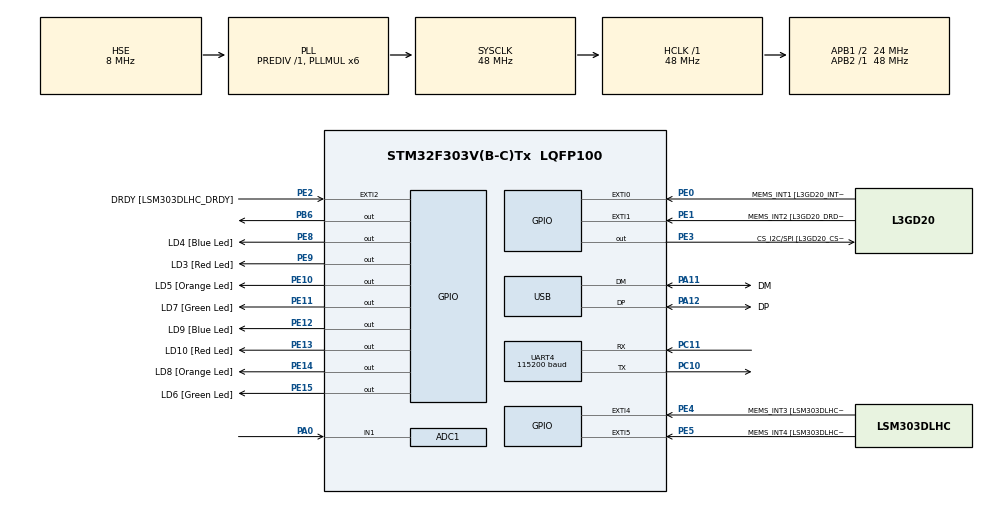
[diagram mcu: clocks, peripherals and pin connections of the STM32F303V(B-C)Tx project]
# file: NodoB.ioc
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ADC1.Channel-0\#ChannelRegularConversion=ADC_CHANNEL_1
ADC1.ClockPrescaler=ADC_CLOCK_SYNC_PCLK_DIV4
ADC1.NbrOfConversionFlag=1
ADC1.Offset-0\#ChannelRegularConversion=0
ADC1.OffsetNumber-0\#ChannelRegularConversion=ADC_OFFSET_NONE
ADC1.Rank-0\#ChannelRegularConversion=1
ADC1.SamplingTime-0\#ChannelRegularConversion=ADC_SAMPLETIME_1CYCLE_5
ADC1.SamplingTimeOPAMP-0\#ChannelRegularConversion=ADC_SAMPLETIME_19CYCLES_5
ADC1.master=1
Mcu.Family=STM32F3
Mcu.Name=STM32F303V(B-C)Tx
Mcu.Package=LQFP100
NVIC.ADC1_2_IRQn=true\:0\:0\:false\:false\:true\:true\:true\:true
NVIC.PriorityGroup=NVIC_PRIORITYGROUP_0
NVIC.UART4_IRQn=true\:0\:0\:false\:false\:true\:true\:true\:true
PA0.Mode=IN1-Single-Ended
PA0.Signal=ADC1_IN1
PA11.GPIO_Label=DM
PA11.Mode=Device
PA11.Signal=USB_DM
PA12.GPIO_Label=DP
PA12.Mode=Device
PA12.Signal=USB_DP
PA13.GPIO_Label=SWDIO
PA13.Mode=Serial_Wire
PA13.Signal=SYS_JTMS-SWDIO
PA14.GPIO_Label=SWCLK
PA14.Mode=Serial_Wire
PA14.Signal=SYS_JTCK-SWCLK
PA5.GPIO_Label=SPI1_SCK [L3GD20_SCL/SPC]
PA5.Signal=SPI1_SCK
PA6.GPIO_Label=SPI1_MISO [L3GD20_SA0/SDO]
PA6.Signal=SPI1_MISO
PA7.GPIO_Label=SPI1_MISO [L3GD20_SDA/SDI/SDO]
PA7.Signal=SPI1_MOSI
PB3.GPIO_Label=SWO
PB3.Signal=SYS_JTDO-TRACESWO
PB6.Signal=GPIO_Output
PC10.Mode=Asynchronous
PC10.Signal=UART4_TX
PC11.Mode=Asynchronous
PC11.Signal=UART4_RX
PC14-OSC32_IN.GPIO_Label=OSC32_IN
PC14-OSC32_IN.Signal=RCC_OSC32_IN
PC15-OSC32_OUT.GPIO_Label=OSC32_OUT
PC15-OSC32_OUT.Signal=RCC_OSC32_OUT
PE0.GPIO_Label=MEMS_INT1 [L3GD20_INT1]
PE0.GPIO_ModeDefaultEXTI=GPIO_MODE_EVT_RISING
PE0.Signal=GPXTI0
PE1.GPIO_Label=MEMS_INT2 [L3GD20_DRDY/INT2]
PE1.GPIO_ModeDefaultEXTI=GPIO_MODE_EVT_RISING
PE1.Signal=GPXTI1
PE10.GPIO_Label=LD5 [Orange Led]
PE10.Signal=GPIO_Output
PE11.GPIO_Label=LD7 [Green Led]
PE11.Signal=GPIO_Output
PE12.GPIO_Label=LD9 [Blue Led]
PE12.Signal=GPIO_Output
PE13.GPIO_Label=LD10 [Red Led]
PE13.Signal=GPIO_Output
PE14.GPIO_Label=LD8 [Orange Led]
PE14.Signal=GPIO_Output
PE15.GPIO_Label=LD6 [Green Led]
PE15.Signal=GPIO_Output
PE2.GPIO_Label=DRDY [LSM303DLHC_DRDY]
PE2.GPIO_ModeDefaultEXTI=GPIO_MODE_EVT_RISING
PE2.Signal=GPXTI2
PE3.GPIO_Label=CS_I2C/SPI [L3GD20_CS_I2C/SPI]
PE3.Signal=GPIO_Output
PE4.GPIO_Label=MEMS_INT3 [LSM303DLHC_INT1]
PE4.GPIO_ModeDefaultEXTI=GPIO_MODE_EVT_RISING
PE4.Signal=GPXTI4
PE5.GPIO_Label=MEMS_INT4 [LSM303DLHC_INT2]
PE5.GPIO_ModeDefaultEXTI=GPIO_MODE_EVT_RISING
PE5.Signal=GPXTI5
PE8.GPIO_Label=LD4 [Blue Led]
PE8.Signal=GPIO_Output
PE9.GPIO_Label=LD3 [Red Led]
PE9.Signal=GPIO_Output
PF0-OSC_IN.GPIO_Label=OSC_IN
PF0-OSC_IN.Mode=HSE-External-Clock-Source
PF0-OSC_IN.Signal=RCC_OSC_IN
PF1-OSC_OUT.GPIO_Label=OSC_OUT
PF1-OSC_OUT.Signal=RCC_OSC_OUT
ProjectManager.HeapSize=0x200
ProjectManager.StackSize=0x400
ProjectManager.TargetToolchain=STM32CubeIDE
RCC.AHBFreq_Value=48000000
RCC.APB1CLKDivider=RCC_HCLK_DIV2
RCC.APB1Freq_Value=24000000
RCC.APB1TimFreq_Value=48000000
RCC.APB2Freq_Value=48000000
RCC.APB2TimFreq_Value=48000000
RCC.CortexFreq_Value=48000000
RCC.HCLKFreq_Value=48000000
RCC.HSE_VALUE=8000000
RCC.HSI_VALUE=8000000
RCC.LSE_VALUE=32768
RCC.PLLMUL=RCC_PLL_MUL6
RCC.SYSCLKFreq_VALUE=48000000
RCC.SYSCLKSourceVirtual=RCC_SYSCLKSOURCE_PLLCLK
RCC.USBFreq_Value=48000000
UART4.BaudRate=115200
board=STM32F3DISCOVERY

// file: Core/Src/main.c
/* USER CODE BEGIN Header */
/**
  ******************************************************************************
  * @file           : main.c
  * @brief          : Main program body
  ******************************************************************************
  * @attention
  *
  * Copyright (c) 2022 STMicroelectronics.
  * All rights reserved.
  *
  * This software is licensed under terms that can be found in the LICENSE file
  * in the root directory of this software component.
  * If no LICENSE file comes with this software, it is provided AS-IS.
  *
  ******************************************************************************
  */
/* USER CODE END Header */
#include "main.h"

/* USER CODE BEGIN Includes */
#include "string.h"
/* USER CODE END Includes */

/* USER CODE BEGIN PD */
#define BUFFER_LEN 1
/* USER CODE END PD */

 ADC_HandleTypeDef hadc1;

UART_HandleTypeDef huart4;

PCD_HandleTypeDef hpcd_USB_FS;

/* USER CODE BEGIN PV */

// VARIABILI UTILI PER LA TRASMISSIONE UART
uint8_t RX_BUFFER[BUFFER_LEN] = {0};
uint8_t TX_BUFFER[BUFFER_LEN] = {0};
int neb_acceso = 0;

// VARIABILI UTILI PER IL LIVELLO DELL'ACQUA
uint16_t adc_value;
uint8_t flag = 0;

/* USER CODE END PV */

void SystemClock_Config(void);
static void MX_GPIO_Init(void);
static void MX_USB_PCD_Init(void);
static void MX_ADC1_Init(void);
static void MX_UART4_Init(void);

/* USER CODE BEGIN 0 */
void gestisci_nebulizzatore(int acceso){
	if (flag == 1 && acceso == 1){
		HAL_GPIO_WritePin(GPIOB, GPIO_PIN_6, GPIO_PIN_SET);
	} else {
		HAL_GPIO_WritePin(GPIOB, GPIO_PIN_6, GPIO_PIN_RESET);
	}
}

uint8_t receive_data_UART(){
	HAL_UART_Receive_IT(&huart4, RX_BUFFER, BUFFER_LEN);
	return RX_BUFFER[0];
}

void HAL_UART_RxCpltCallback(UART_HandleTypeDef* huart){
	HAL_GPIO_TogglePin(GPIOE, GPIO_PIN_9);
	if(huart->Instance == huart4.Instance){
		uint8_t data = receive_data_UART();
		if (data == 1){
			neb_acceso = 1;
		} else {
			neb_acceso = 0;
		}
		gestisci_nebulizzatore(neb_acceso);
	}
}

void HAL_ADC_ConvCpltCallback(ADC_HandleTypeDef* hadc){
	adc_value = HAL_ADC_GetValue(hadc);
	if (adc_value > 200){
		flag = 1;
	} else {
		flag = 0;
	}
}
/* USER CODE END 0 */

int main(void)
{

  /* MCU Configuration--------------------------------------------------------*/

  /* Reset of all peripherals, Initializes the Flash interface and the Systick. */
  HAL_Init();

  /* Configure the system clock */
  SystemClock_Config();

  /* Initialize all configured peripherals */
  MX_GPIO_Init();
  MX_USB_PCD_Init();
  MX_ADC1_Init();
  MX_UART4_Init();
  /* USER CODE BEGIN 2 */
  HAL_Delay(5000);

  HAL_UART_Receive_IT(&huart4, RX_BUFFER, BUFFER_LEN);
  /* USER CODE END 2 */

  /* Infinite loop */
  /* USER CODE BEGIN WHILE */
  while (1)
  {
	  if (flag == 1)
	  {
		  TX_BUFFER[0] = 1;
		  HAL_UART_Transmit_IT(&huart4, TX_BUFFER, sizeof(TX_BUFFER));
	  } else {
		  TX_BUFFER[0] = 0;
		  HAL_UART_Transmit_IT(&huart4, TX_BUFFER, sizeof(TX_BUFFER));
	  }

	  HAL_Delay(2000);
	  HAL_ADC_Start_IT(&hadc1);
    /* USER CODE END WHILE */

  }
}

void SystemClock_Config(void)
{
  RCC_OscInitTypeDef RCC_OscInitStruct = {0};
  RCC_ClkInitTypeDef RCC_ClkInitStruct = {0};
  RCC_PeriphCLKInitTypeDef PeriphClkInit = {0};

  /** Initializes the RCC Oscillators according to the specified parameters
  * in the RCC_OscInitTypeDef structure.
  */
  RCC_OscInitStruct.OscillatorType = RCC_OSCILLATORTYPE_HSE;
  RCC_OscInitStruct.HSEState = RCC_HSE_BYPASS;
  RCC_OscInitStruct.HSEPredivValue = RCC_HSE_PREDIV_DIV1;
  RCC_OscInitStruct.HSIState = RCC_HSI_ON;
  RCC_OscInitStruct.PLL.PLLState = RCC_PLL_ON;
  RCC_OscInitStruct.PLL.PLLSource = RCC_PLLSOURCE_HSE;
  RCC_OscInitStruct.PLL.PLLMUL = RCC_PLL_MUL6;
  if (HAL_RCC_OscConfig(&RCC_OscInitStruct) != HAL_OK)
  {
    Error_Handler();
  }

  /** Initializes the CPU, AHB and APB buses clocks
  */
  RCC_ClkInitStruct.ClockType = RCC_CLOCKTYPE_HCLK|RCC_CLOCKTYPE_SYSCLK
                              |RCC_CLOCKTYPE_PCLK1|RCC_CLOCKTYPE_PCLK2;
  RCC_ClkInitStruct.SYSCLKSource = RCC_SYSCLKSOURCE_PLLCLK;
  RCC_ClkInitStruct.AHBCLKDivider = RCC_SYSCLK_DIV1;
  RCC_ClkInitStruct.APB1CLKDivider = RCC_HCLK_DIV2;
  RCC_ClkInitStruct.APB2CLKDivider = RCC_HCLK_DIV1;

  if (HAL_RCC_ClockConfig(&RCC_ClkInitStruct, FLASH_LATENCY_1) != HAL_OK)
  {
    Error_Handler();
  }
  PeriphClkInit.PeriphClockSelection = RCC_PERIPHCLK_USB|RCC_PERIPHCLK_UART4;
  PeriphClkInit.Uart4ClockSelection = RCC_UART4CLKSOURCE_PCLK1;
  PeriphClkInit.USBClockSelection = RCC_USBCLKSOURCE_PLL;
  if (HAL_RCCEx_PeriphCLKConfig(&PeriphClkInit) != HAL_OK)
  {
    Error_Handler();
  }
}

static void MX_ADC1_Init(void)
{

  ADC_MultiModeTypeDef multimode = {0};
  ADC_ChannelConfTypeDef sConfig = {0};

  /** Common config
  */
  hadc1.Instance = ADC1;
  hadc1.Init.ClockPrescaler = ADC_CLOCK_SYNC_PCLK_DIV4;
  hadc1.Init.Resolution = ADC_RESOLUTION_12B;
  hadc1.Init.ScanConvMode = ADC_SCAN_DISABLE;
  hadc1.Init.ContinuousConvMode = DISABLE;
  hadc1.Init.DiscontinuousConvMode = DISABLE;
  hadc1.Init.ExternalTrigConvEdge = ADC_EXTERNALTRIGCONVEDGE_NONE;
  hadc1.Init.ExternalTrigConv = ADC_SOFTWARE_START;
  hadc1.Init.DataAlign = ADC_DATAALIGN_RIGHT;
  hadc1.Init.NbrOfConversion = 1;
  hadc1.Init.DMAContinuousRequests = DISABLE;
  hadc1.Init.EOCSelection = ADC_EOC_SINGLE_CONV;
  hadc1.Init.LowPowerAutoWait = DISABLE;
  hadc1.Init.Overrun = ADC_OVR_DATA_OVERWRITTEN;
  if (HAL_ADC_Init(&hadc1) != HAL_OK)
  {
    Error_Handler();
  }

  /** Configure the ADC multi-mode
  */
  multimode.Mode = ADC_MODE_INDEPENDENT;
  if (HAL_ADCEx_MultiModeConfigChannel(&hadc1, &multimode) != HAL_OK)
  {
    Error_Handler();
  }

  /** Configure Regular Channel
  */
  sConfig.Channel = ADC_CHANNEL_1;
  sConfig.Rank = ADC_REGULAR_RANK_1;
  sConfig.SingleDiff = ADC_SINGLE_ENDED;
  sConfig.SamplingTime = ADC_SAMPLETIME_1CYCLE_5;
  sConfig.OffsetNumber = ADC_OFFSET_NONE;
  sConfig.Offset = 0;
  if (HAL_ADC_ConfigChannel(&hadc1, &sConfig) != HAL_OK)
  {
    Error_Handler();
  }

}

static void MX_UART4_Init(void)
{

  huart4.Instance = UART4;
  huart4.Init.BaudRate = 115200;
  huart4.Init.WordLength = UART_WORDLENGTH_8B;
  huart4.Init.StopBits = UART_STOPBITS_1;
  huart4.Init.Parity = UART_PARITY_NONE;
  huart4.Init.Mode = UART_MODE_TX_RX;
  huart4.Init.HwFlowCtl = UART_HWCONTROL_NONE;
  huart4.Init.OverSampling = UART_OVERSAMPLING_16;
  huart4.Init.OneBitSampling = UART_ONE_BIT_SAMPLE_DISABLE;
  huart4.AdvancedInit.AdvFeatureInit = UART_ADVFEATURE_NO_INIT;
  if (HAL_UART_Init(&huart4) != HAL_OK)
  {
    Error_Handler();
  }

}

static void MX_USB_PCD_Init(void)
{

  hpcd_USB_FS.Instance = USB;
  hpcd_USB_FS.Init.dev_endpoints = 8;
  hpcd_USB_FS.Init.speed = PCD_SPEED_FULL;
  hpcd_USB_FS.Init.phy_itface = PCD_PHY_EMBEDDED;
  hpcd_USB_FS.Init.low_power_enable = DISABLE;
  hpcd_USB_FS.Init.battery_charging_enable = DISABLE;
  if (HAL_PCD_Init(&hpcd_USB_FS) != HAL_OK)
  {
    Error_Handler();
  }

}

static void MX_GPIO_Init(void)
{
  GPIO_InitTypeDef GPIO_InitStruct = {0};

  /* GPIO Ports Clock Enable */
  __HAL_RCC_GPIOE_CLK_ENABLE();
  __HAL_RCC_GPIOC_CLK_ENABLE();
  __HAL_RCC_GPIOF_CLK_ENABLE();
  __HAL_RCC_GPIOA_CLK_ENABLE();
  __HAL_RCC_GPIOB_CLK_ENABLE();

  /*Configure GPIO pin Output Level */
  HAL_GPIO_WritePin(GPIOE, CS_I2C_SPI_Pin|LD4_Pin|LD3_Pin|LD5_Pin
                          |LD7_Pin|LD9_Pin|LD10_Pin|LD8_Pin
                          |LD6_Pin, GPIO_PIN_RESET);

  /*Configure GPIO pin Output Level */
  HAL_GPIO_WritePin(GPIOB, GPIO_PIN_6, GPIO_PIN_RESET);

  /*Configure GPIO pins : DRDY_Pin MEMS_INT3_Pin MEMS_INT4_Pin MEMS_INT1_Pin
                           MEMS_INT2_Pin */
  GPIO_InitStruct.Pin = DRDY_Pin|MEMS_INT3_Pin|MEMS_INT4_Pin|MEMS_INT1_Pin
                          |MEMS_INT2_Pin;
  GPIO_InitStruct.Mode = GPIO_MODE_EVT_RISING;
  GPIO_InitStruct.Pull = GPIO_NOPULL;
  HAL_GPIO_Init(GPIOE, &GPIO_InitStruct);

  /*Configure GPIO pins : CS_I2C_SPI_Pin LD4_Pin LD3_Pin LD5_Pin
                           LD7_Pin LD9_Pin LD10_Pin LD8_Pin
                           LD6_Pin */
  GPIO_InitStruct.Pin = CS_I2C_SPI_Pin|LD4_Pin|LD3_Pin|LD5_Pin
                          |LD7_Pin|LD9_Pin|LD10_Pin|LD8_Pin
                          |LD6_Pin;
  GPIO_InitStruct.Mode = GPIO_MODE_OUTPUT_PP;
  GPIO_InitStruct.Pull = GPIO_NOPULL;
  GPIO_InitStruct.Speed = GPIO_SPEED_FREQ_LOW;
  HAL_GPIO_Init(GPIOE, &GPIO_InitStruct);

  /*Configure GPIO pins : SPI1_SCK_Pin SPI1_MISO_Pin SPI1_MISOA7_Pin */
  GPIO_InitStruct.Pin = SPI1_SCK_Pin|SPI1_MISO_Pin|SPI1_MISOA7_Pin;
  GPIO_InitStruct.Mode = GPIO_MODE_AF_PP;
  GPIO_InitStruct.Pull = GPIO_NOPULL;
  GPIO_InitStruct.Speed = GPIO_SPEED_FREQ_HIGH;
  GPIO_InitStruct.Alternate = GPIO_AF5_SPI1;
  HAL_GPIO_Init(GPIOA, &GPIO_InitStruct);

  /*Configure GPIO pin : PB6 */
  GPIO_InitStruct.Pin = GPIO_PIN_6;
  GPIO_InitStruct.Mode = GPIO_MODE_OUTPUT_PP;
  GPIO_InitStruct.Pull = GPIO_NOPULL;
  GPIO_InitStruct.Speed = GPIO_SPEED_FREQ_LOW;
  HAL_GPIO_Init(GPIOB, &GPIO_InitStruct);

}

void Error_Handler(void)
{
  __disable_irq();
  while (1)
  {
  }
}
